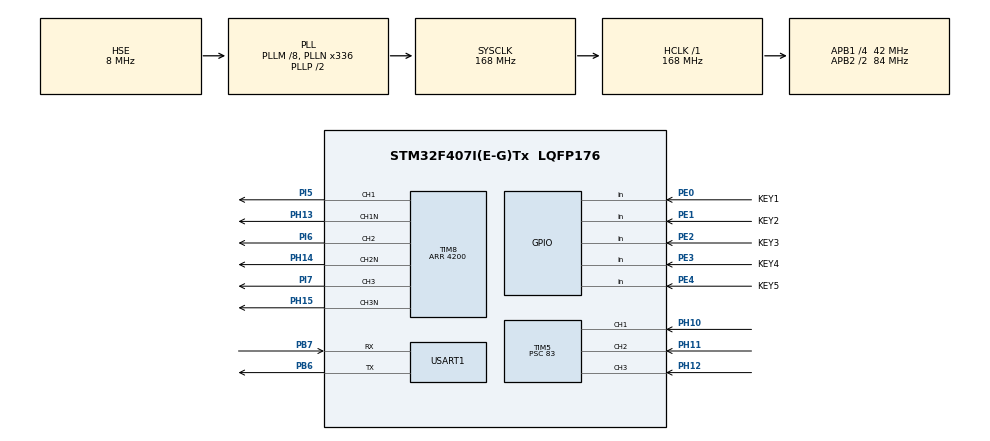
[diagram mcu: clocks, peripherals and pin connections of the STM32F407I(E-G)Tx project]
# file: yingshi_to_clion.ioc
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Mcu.Family=STM32F4
Mcu.Name=STM32F407I(E-G)Tx
Mcu.Package=LQFP176
NVIC.PriorityGroup=NVIC_PRIORITYGROUP_4
NVIC.TIM5_IRQn=true\:0\:0\:false\:false\:true\:true\:true\:true
NVIC.TIM8_CC_IRQn=true\:0\:0\:false\:false\:true\:true\:true\:true
PA13.Mode=Serial_Wire
PA13.Signal=SYS_JTMS-SWDIO
PA14.Mode=Serial_Wire
PA14.Signal=SYS_JTCK-SWCLK
PB6.Mode=Asynchronous
PB6.Signal=USART1_TX
PB7.Mode=Asynchronous
PB7.Signal=USART1_RX
PE0.GPIO_Label=KEY1
PE0.Signal=GPIO_Input
PE1.GPIO_Label=KEY2
PE1.Signal=GPIO_Input
PE2.GPIO_Label=KEY3
PE2.Signal=GPIO_Input
PE3.GPIO_Label=KEY4
PE3.Signal=GPIO_Input
PE4.GPIO_Label=KEY5
PE4.Signal=GPIO_Input
PH0-OSC_IN.Mode=HSE-External-Oscillator
PH0-OSC_IN.Signal=RCC_OSC_IN
PH1-OSC_OUT.Mode=HSE-External-Oscillator
PH1-OSC_OUT.Signal=RCC_OSC_OUT
PH10.Signal=S_TIM5_CH1
PH11.Signal=S_TIM5_CH2
PH12.Signal=S_TIM5_CH3
PH13.Mode=PWM Generation1 CH1 CH1N
PH13.Signal=TIM8_CH1N
PH14.Mode=PWM Generation2 CH2 CH2N
PH14.Signal=TIM8_CH2N
PH15.Mode=PWM Generation3 CH3 CH3N
PH15.Signal=TIM8_CH3N
PI5.Signal=S_TIM8_CH1
PI6.Signal=S_TIM8_CH2
PI7.Signal=S_TIM8_CH3
ProjectManager.HeapSize=0x200
ProjectManager.StackSize=0x400
ProjectManager.TargetToolchain=STM32CubeIDE
RCC.48MHZClocksFreq_Value=84000000
RCC.AHBFreq_Value=168000000
RCC.APB1CLKDivider=RCC_HCLK_DIV4
RCC.APB1Freq_Value=42000000
RCC.APB1TimFreq_Value=84000000
RCC.APB2CLKDivider=RCC_HCLK_DIV2
RCC.APB2Freq_Value=84000000
RCC.APB2TimFreq_Value=168000000
RCC.CortexFreq_Value=168000000
RCC.HCLKFreq_Value=168000000
RCC.HSE_VALUE=8000000
RCC.HSI_VALUE=16000000
RCC.LSE_VALUE=32768
RCC.PLLM=8
RCC.PLLN=336
RCC.PLLSourceVirtual=RCC_PLLSOURCE_HSE
RCC.SYSCLKFreq_VALUE=168000000
RCC.SYSCLKSource=RCC_SYSCLKSOURCE_PLLCLK
RCC.VCOOutputFreq_Value=336000000
SH.S_TIM5_CH1.0=TIM5_CH1,Xored_Inputs_Hall_Sensor_Interface
SH.S_TIM5_CH2.0=TIM5_CH2,Xored_Inputs_Hall_Sensor_Interface
SH.S_TIM5_CH3.0=TIM5_CH3,Xored_Inputs_Hall_Sensor_Interface
SH.S_TIM8_CH1.0=TIM8_CH1,PWM Generation1 CH1 CH1N
SH.S_TIM8_CH2.0=TIM8_CH2,PWM Generation2 CH2 CH2N
SH.S_TIM8_CH3.0=TIM8_CH3,PWM Generation3 CH3 CH3N
TIM5.Prescaler=83
TIM8.Channel-PWM\ Generation1\ CH1\ CH1N=TIM_CHANNEL_1
TIM8.Channel-PWM\ Generation2\ CH2\ CH2N=TIM_CHANNEL_2
TIM8.Channel-PWM\ Generation3\ CH3\ CH3N=TIM_CHANNEL_3
TIM8.CounterMode=TIM_COUNTERMODE_CENTERALIGNED1
TIM8.OffStateIDLEMode=TIM_OSSI_ENABLE
TIM8.OffStateRunMode=TIM_OSSR_ENABLE
TIM8.Period=4200
USART1.VirtualMode=VM_ASYNC
VP_TIM8_VS_ClockSourceINT.Mode=Internal
board=custom

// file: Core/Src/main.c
/* USER CODE BEGIN Header */
/**
  ******************************************************************************
  * @file           : main.c
  * @brief          : Main program body
  ******************************************************************************
  * @attention
  *
  * Copyright (c) 2023 STMicroelectronics.
  * All rights reserved.
  *
  * This software is licensed under terms that can be found in the LICENSE file
  * in the root directory of this software component.
  * If no LICENSE file comes with this software, it is provided AS-IS.
  *
  ******************************************************************************
  */
/* USER CODE END Header */
#include "main.h"
#include "tim.h"
#include "usart.h"
#include "gpio.h"

/* USER CODE BEGIN Includes */
#include "bsp_bldc.h"
#include "bsp_hall.h"
#include "retarget.h"
#include <math.h>
#include "bsp_key.h"

/* USER CODE END Includes */

/* USER CODE BEGIN PTD */
#define TIMECNT   800
/* USER CODE END PTD */

/* USER CODE BEGIN PD */
float MotorSpeed  = 0.0f ;// ???????,?????????,

_Bool isTimeUp    = 0;     // ??????
uint32_t timeTick = 0;   // ??????

/* USER CODE END PD */

/* USER CODE BEGIN PM */
extern MotorSta_Typedef Motor_State; // ??????????
extern MotorDir_Typedef Motor_Dir;  // ?????? ,?????
extern float PWM_Duty;        // 25%?????

extern MotorDir_Typedef RT_hallDir; // ????????????????????
/* USER CODE END PM */

void SystemClock_Config(void);

int main(void)
{
  /* USER CODE BEGIN 1 */
    float Speed_hz  = 0 ;
  /* USER CODE END 1 */

  /* MCU Configuration--------------------------------------------------------*/

  /* Reset of all peripherals, Initializes the Flash interface and the Systick. */
  HAL_Init();

  /* Configure the system clock */
  SystemClock_Config();

  /* Initialize all configured peripherals */
  KEY_GPIO_Init();
  MX_TIM5_Init();
  MX_USART1_UART_Init();
  MX_TIM8_Init();
  /* USER CODE BEGIN 2 */
//    BLDCMOTOR_TIMx_Init();
    HALLSensor_TIMx_Init();
    RetargetInit(&huart1);

    printf("\r\nhall speed process start \n");
    printf(" <- 直流无刷电机基础驱动_HALL传感器测速 -> \n");
    printf(" <- 定时器的霍尔传感器接口功能,在CH1的比较器里面保存有两次边沿之间的\n");
    printf("计数值,根据这些计数值就可以测量出电机转速 -> \n");
    printf("正负代表方向 -> \n");
    Motor_Dir = MOTOR_DIR_CW;
    timeTick = TIMECNT;
    MotorSpeed = 0.15f;
    BLDCMotor_SetSpeed(MotorSpeed);
    BLDCMotor_Start();
    printf("按键KEY1启动电机\n");
//    MotorSpeed = 0.15f;
//    BLDCMotor_SetSpeed(MotorSpeed);
//    BLDCMotor_Start();
//    printf("按键KEY1启动电机\n");

  /* USER CODE END 2 */

  /* Infinite loop */
  /* USER CODE BEGIN WHILE */
  while (1)
  {
      /* 启动电机 */
      if(KEY1_StateRead() == KEY_DOWN)
      {
          MotorSpeed = 0.15f;
          BLDCMotor_SetSpeed(MotorSpeed);
          BLDCMotor_Start();
          printf("按键KEY1启动电机\n");
      }
      /* 电机加速 */
      if(KEY3_StateRead() == KEY_DOWN)
      {
          MotorSpeed += 0.05f;
          BLDCMotor_SetSpeed(MotorSpeed);
          printf("电机加速\n");
      }
      /* 电机减速 */
      if(KEY4_StateRead() == KEY_DOWN)
      {
          MotorSpeed -= 0.05f;
          BLDCMotor_SetSpeed(MotorSpeed);
          printf("电机减速\n");
      }
      /* 电机更换方向 */
      if(KEY2_StateRead() == KEY_DOWN)
      {
          /* 必须先停止,然后再启动 */
          if(Motor_State == MOTOR_DISABLE)
          {
              if(Motor_Dir == MOTOR_DIR_CW)
                  Motor_Dir = MOTOR_DIR_CCW;
              else
                  Motor_Dir = MOTOR_DIR_CW;
              printf("需要重新启动电机\n");
          }
          else
              printf("电机更换方向,必须先停止\n");
      }
      /* 刹车停止 */
      if(KEY5_StateRead() == KEY_DOWN)
      {
          BLDCMotor_braking_LowerShort();
          HAL_Delay(100);// 等100ms, 电机停下来之后才取消刹车控制
          BLDCMotor_unbraking_LS();
          printf("刹车停止\n");
      }
      if( isTimeUp )
      {
          uint32_t tmpCC = 0;
          if(RT_hallcnt == 0) // 避免除数为0
          {
              Speed_hz = 0;
          }
          else
          {
              tmpCC = RT_hallcomp / RT_hallcnt; // tmpCC:两次捕获之间的捕获值,
              Speed_hz = (float)HALL_TIM_FREQ/(float)(tmpCC);
          }
          RT_hallcomp = 0;
          RT_hallcnt  = 0;
          /* 霍尔信号的频率,转速rps,转速rpm */
          if(RT_hallDir == MOTOR_DIR_CW)
              Speed_hz = fabs(Speed_hz);
          else
              Speed_hz = -fabs(Speed_hz);
          /* 未做任何滤波的速度值 */
          printf("%.3f Hz, %.2f RPS, %.2fRPM\n", Speed_hz, Speed_hz/PPR, (Speed_hz/PPR)*60);

          isTimeUp = 0;
          timeTick = TIMECNT;
      }
    /* USER CODE END WHILE */

  }
}

void SystemClock_Config(void)
{
    RCC_OscInitTypeDef RCC_OscInitStruct = {0};
    RCC_ClkInitTypeDef RCC_ClkInitStruct = {0};
    __HAL_RCC_PWR_CLK_ENABLE();                                     // 使能PWR时钟
    __HAL_PWR_VOLTAGESCALING_CONFIG(PWR_REGULATOR_VOLTAGE_SCALE1);  // 设置调压器输出电压级别1
    RCC_OscInitStruct.OscillatorType = RCC_OSCILLATORTYPE_HSE;      // 外部晶振，8MHz
    RCC_OscInitStruct.HSEState       = RCC_HSE_ON;                  // 打开HSE
    RCC_OscInitStruct.PLL.PLLState   = RCC_PLL_ON;                  // 打开PLL
    RCC_OscInitStruct.PLL.PLLSource  = RCC_PLLSOURCE_HSE;           // PLL时钟源选择HSE
    RCC_OscInitStruct.PLL.PLLM = 8;                                 // 8分频MHz
    RCC_OscInitStruct.PLL.PLLN = 336;                               // 336倍频
    RCC_OscInitStruct.PLL.PLLP = RCC_PLLP_DIV2;                     // 2分频，得到168MHz主时钟
    RCC_OscInitStruct.PLL.PLLQ = 7;                                 // USB/SDIO/随机数产生器等的主PLL分频系数
    HAL_RCC_OscConfig(&RCC_OscInitStruct);
    RCC_ClkInitStruct.ClockType = RCC_CLOCKTYPE_HCLK | RCC_CLOCKTYPE_SYSCLK
                                  | RCC_CLOCKTYPE_PCLK1 | RCC_CLOCKTYPE_PCLK2;
    RCC_ClkInitStruct.SYSCLKSource   = RCC_SYSCLKSOURCE_PLLCLK;     // 系统时钟：168MHz
    RCC_ClkInitStruct.AHBCLKDivider  = RCC_SYSCLK_DIV1;             // AHB时钟： 168MHz
    RCC_ClkInitStruct.APB1CLKDivider = RCC_HCLK_DIV4;               // APB1时钟：42MHz
    RCC_ClkInitStruct.APB2CLKDivider = RCC_HCLK_DIV2;               // APB2时钟：84MHz
    HAL_RCC_ClockConfig(&RCC_ClkInitStruct, FLASH_LATENCY_5);
    HAL_RCC_EnableCSS();                                            // 使能CSS功能，优先使用外部晶振，内部时钟源为备用
    // HAL_RCC_GetHCLKFreq()/1000    1ms中断一次
    // HAL_RCC_GetHCLKFreq()/100000	 10us中断一次
    // HAL_RCC_GetHCLKFreq()/1000000 1us中断一次
    HAL_SYSTICK_Config(HAL_RCC_GetHCLKFreq() / 1000);               // 配置并启动系统滴答定时器
    /* 系统滴答定时器时钟源 */
    HAL_SYSTICK_CLKSourceConfig(SYSTICK_CLKSOURCE_HCLK);
    /* 系统滴答定时器中断优先级配置 */
    HAL_NVIC_SetPriority(SysTick_IRQn, 0, 0);
}

/* USER CODE BEGIN 4 */
void HAL_SYSTICK_Callback()
{
    if(timeTick != 0)
        timeTick--;
    if(timeTick == 0)
    {
        isTimeUp = 1;
    }

}
/* USER CODE END 4 */

void Error_Handler(void)
{
  __disable_irq();
  while (1)
  {
  }
}
